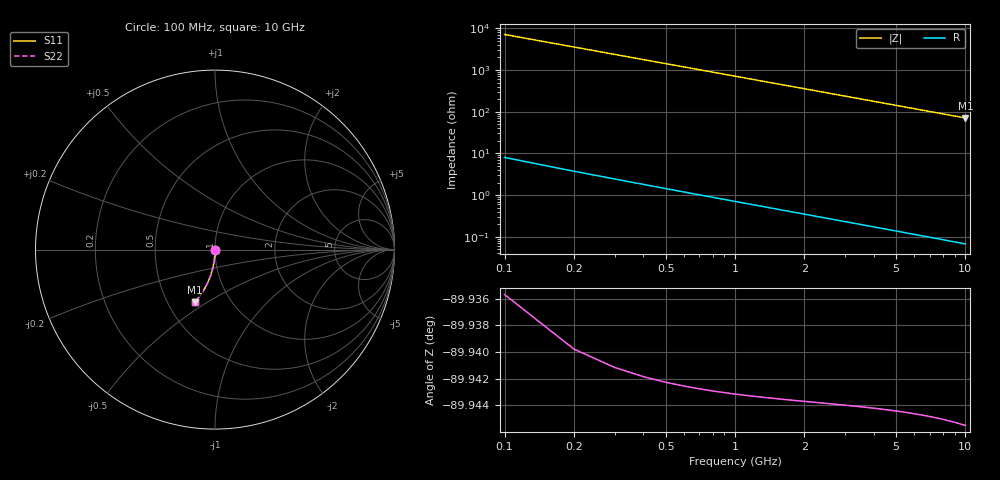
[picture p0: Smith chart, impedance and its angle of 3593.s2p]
# Hz S RI R 50.00
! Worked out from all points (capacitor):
!   100 points, 100 MHz to 10 GHz, reference 50 ohm
!   read as one part in shunt: C = 224 fF near 100 MHz
!   lowest |Z| = 70.8 ohm at 10 GHz (marker M1)
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1e8  8.06e-05 -0.00329  0.9999 -0.00375  0.9999 -0.00375  8.06e-05 -0.00329
2e8  4.09e-05 -0.00657  0.9998 -0.0075  0.9998 -0.0075  4.09e-05 -0.00657
3e8  -2.37e-05 -0.00986  0.9998 -0.0112  0.9998 -0.0112  -2.37e-05 -0.00986
4e8  -0.000113 -0.0131  0.9997 -0.015  0.9997 -0.015  -0.000113 -0.0131
5e8  -0.000227 -0.0164  0.9996 -0.0187  0.9996 -0.0187  -0.000227 -0.0164
6e8  -0.000366 -0.0197  0.9994 -0.0225  0.9994 -0.0225  -0.000366 -0.0197
7e8  -0.000529 -0.023  0.9993 -0.0262  0.9993 -0.0262  -0.000529 -0.023
8e8  -0.000717 -0.0263  0.9991 -0.03  0.9991 -0.03  -0.000717 -0.0263
9e8  -0.000929 -0.0296  0.9989 -0.0337  0.9989 -0.0337  -0.000929 -0.0296
1.1e9  -0.00143 -0.0361  0.9984 -0.0412  0.9984 -0.0412  -0.00143 -0.0361
1.4e9  -0.00236 -0.0459  0.9974 -0.0524  0.9974 -0.0524  -0.00236 -0.0459
1.8e9  -0.00394 -0.059  0.9958 -0.0673  0.9958 -0.0673  -0.00394 -0.059
2.1e9  -0.00539 -0.0687  0.9944 -0.0784  0.9944 -0.0784  -0.00539 -0.0687
2.5e9  -0.00765 -0.0816  0.9921 -0.0932  0.9921 -0.0932  -0.00765 -0.0816
2.9e9  -0.0103 -0.0944  0.9894 -0.1079  0.9894 -0.1079  -0.0103 -0.0944
3.4e9  -0.0141 -0.1103  0.9855 -0.1261  0.9855 -0.1261  -0.0141 -0.1103
4.2e9  -0.0215 -0.1353  0.9781 -0.1548  0.9781 -0.1548  -0.0215 -0.1353
5.1e9  -0.0314 -0.1627  0.9681 -0.1864  0.9681 -0.1864  -0.0314 -0.1627
5.9e9  -0.0417 -0.1863  0.9577 -0.2137  0.9577 -0.2137  -0.0417 -0.1863
6.7e9  -0.0532 -0.2091  0.9461 -0.2402  0.9461 -0.2402  -0.0532 -0.2091
8.4e9  -0.0815 -0.2543  0.9175 -0.2935  0.9175 -0.2935  -0.0815 -0.2543
1e10  -0.1122 -0.2925  0.8865 -0.3393  0.8865 -0.3393  -0.1122 -0.2925
